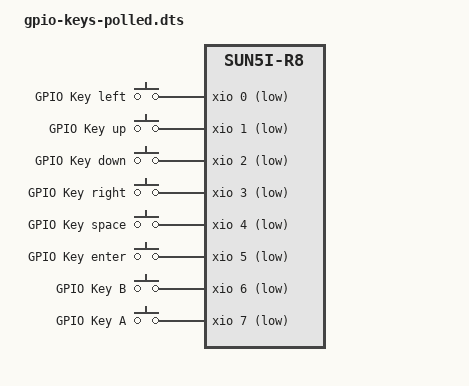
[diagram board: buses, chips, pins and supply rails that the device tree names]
/dts-v1/;
/plugin/;

/ {
	compatible = "nextthing,chip", "allwinner,sun5i-r8";

	/* And enable the led-gpios driver on this pin */
	fragment@0 {
		target-path = "/";

		__overlay__ {
			gpio-keys {
				compatible = "gpio-keys-polled";
				poll-interval = <1>;
				autorepeat;

				left {
					label = "GPIO Key left";
					linux,code = <105>;
					gpios = <&xio 0 1>;
				};
				up {
					label = "GPIO Key up";
					linux,code = <103>;
					gpios = <&xio 1 1>;
				};
				down {
					label = "GPIO Key down";
					linux,code = <108>;
					gpios = <&xio 2 1>;
				};
				right {
					label = "GPIO Key right";
					linux,code = <106>;
					gpios = <&xio 3 1>;
				};
				space {
					label = "GPIO Key space";
					linux,code = <57>;
					gpios = <&xio 4 1>;
				};
				ent {
					label = "GPIO Key enter";
					linux,code = <28>;
					gpios = <&xio 5 1>;
				};
				b {
					label = "GPIO Key B";
					linux,code = <48>;
					gpios = <&xio 6 1>;
				};
				a {
					label = "GPIO Key A";
					linux,code = <30>;
					gpios = <&xio 7 1>;
				};
			};
		};
	};
};
